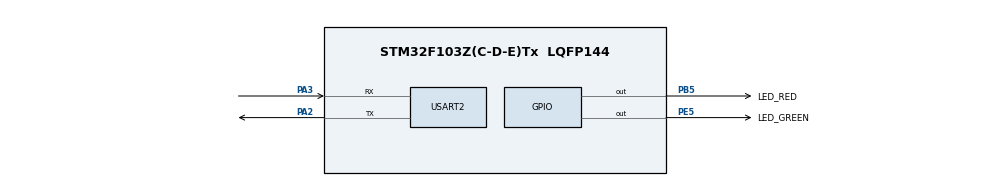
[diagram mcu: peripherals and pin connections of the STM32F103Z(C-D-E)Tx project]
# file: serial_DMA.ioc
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Dma.Request0=USART2_TX
Dma.Request1=USART2_RX
Dma.USART2_RX.1.Direction=DMA_PERIPH_TO_MEMORY
Dma.USART2_RX.1.Instance=DMA1_Channel6
Dma.USART2_RX.1.MemDataAlignment=DMA_MDATAALIGN_BYTE
Dma.USART2_RX.1.MemInc=DMA_MINC_ENABLE
Dma.USART2_RX.1.Mode=DMA_NORMAL
Dma.USART2_RX.1.PeriphDataAlignment=DMA_PDATAALIGN_BYTE
Dma.USART2_RX.1.PeriphInc=DMA_PINC_DISABLE
Dma.USART2_RX.1.Priority=DMA_PRIORITY_LOW
Dma.USART2_TX.0.Direction=DMA_MEMORY_TO_PERIPH
Dma.USART2_TX.0.Instance=DMA1_Channel7
Dma.USART2_TX.0.MemDataAlignment=DMA_MDATAALIGN_BYTE
Dma.USART2_TX.0.MemInc=DMA_MINC_ENABLE
Dma.USART2_TX.0.Mode=DMA_NORMAL
Dma.USART2_TX.0.PeriphDataAlignment=DMA_PDATAALIGN_BYTE
Dma.USART2_TX.0.PeriphInc=DMA_PINC_DISABLE
Dma.USART2_TX.0.Priority=DMA_PRIORITY_MEDIUM
Mcu.Family=STM32F1
Mcu.Name=STM32F103Z(C-D-E)Tx
Mcu.Package=LQFP144
NVIC.DMA1_Channel6_IRQn=true\:0\:0\:false\:false\:true\:false\:true\:true
NVIC.DMA1_Channel7_IRQn=true\:0\:0\:false\:false\:true\:false\:true\:true
NVIC.PriorityGroup=NVIC_PRIORITYGROUP_4
NVIC.USART2_IRQn=true\:0\:0\:false\:false\:true\:true\:true\:true
OSC_IN.Mode=HSE-External-Oscillator
OSC_IN.Signal=RCC_OSC_IN
OSC_OUT.Mode=HSE-External-Oscillator
OSC_OUT.Signal=RCC_OSC_OUT
PA13.Mode=Serial_Wire
PA13.Signal=SYS_JTMS-SWDIO
PA14.Mode=Serial_Wire
PA14.Signal=SYS_JTCK-SWCLK
PA2.Mode=Asynchronous
PA2.Signal=USART2_TX
PA3.Mode=Asynchronous
PA3.Signal=USART2_RX
PB5.GPIO_Label=LED_RED
PB5.Signal=GPIO_Output
PE5.GPIO_Label=LED_GREEN
PE5.Signal=GPIO_Output
ProjectManager.HeapSize=0x200
ProjectManager.StackSize=0x400
ProjectManager.TargetToolchain=MDK-ARM V5.32
RCC.APB1Freq_Value=8000000
RCC.APB2Freq_Value=8000000
USART2.VirtualMode=VM_ASYNC
board=custom

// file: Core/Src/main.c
/* USER CODE BEGIN Header */
/**
  ******************************************************************************
  * @file           : main.c
  * @brief          : Main program body
  ******************************************************************************
  * @attention
  *
  * Copyright (c) 2025 STMicroelectronics.
  * All rights reserved.
  *
  * This software is licensed under terms that can be found in the LICENSE file
  * in the root directory of this software component.
  * If no LICENSE file comes with this software, it is provided AS-IS.
  *
  ******************************************************************************
  */
/* USER CODE END Header */
#include <stdio.h>
#include "main.h"
#include <stdarg.h>  // 用于可变参数

UART_HandleTypeDef huart2;
DMA_HandleTypeDef hdma_usart2_tx;
DMA_HandleTypeDef hdma_usart2_rx;

/* USER CODE BEGIN PV */
uint8_t receive_data[50]; //定义全局变量

uint8_t log_buffer[128];       // 日志缓冲区
volatile uint8_t dma_tx_busy = 0; // DMA发送状态标志
/* USER CODE END PV */

void SystemClock_Config(void);
static void MX_GPIO_Init(void);
static void MX_DMA_Init(void);
static void MX_USART2_UART_Init(void);

/* USER CODE BEGIN 0 */

// 重定向_write函数（支持DMA非阻塞发送）
int _write(int fd, char *ptr, int len) {
    if (dma_tx_busy) return 0; // 等待上一次发送完成
    dma_tx_busy = 1;
    HAL_UART_Transmit_DMA(&huart2, (uint8_t *)ptr, len);
    return len;
}

// DMA发送完成回调
void HAL_UART_TxCpltCallback(UART_HandleTypeDef *huart) {
    if (huart->Instance == USART2) {
        dma_tx_busy = 0; // 标记DMA空闲
    }
}

 void HAL_UART_RxCpltCallback(UART_HandleTypeDef *huart) //
 {
 		HAL_UART_Transmit_IT(&huart2,receive_data, 2);

		GPIO_PinState state = GPIO_PIN_RESET;

		if(receive_data[1] == '0' ){
		state = GPIO_PIN_SET;
		}

		if(receive_data[0] == 'R'){
		HAL_GPIO_WritePin(LED_RED_GPIO_Port, LED_RED_Pin, state);
		}
		else if(receive_data[0] == 'G'){
		HAL_GPIO_WritePin(LED_GREEN_GPIO_Port, LED_GREEN_Pin, state);
		}
			HAL_UART_Receive_DMA(&huart2, receive_data, 2);
 }

 /*在STM32的HAL库中，使用 HAL_UARTEx_RxEventCallback 后，HAL_UART_RxCpltCallback 是否被调用，取决于你使用的接收函数类型和配置。以下是详细分析：

1. 两种回调函数的区别
回调函数	触发条件	适用场景
HAL_UART_RxCpltCallback	当使用 标准接收函数（如 HAL_UART_Receive_DMA）且 DMA传输完成指定长度数据 时触发。	定长数据接收
HAL_UARTEx_RxEventCallback	当使用 扩展接收函数（如 HAL_UARTEx_ReceiveToIdle_DMA）且 数据接收完成或空闲中断触发 时触发。	不定长数据接收（结合空闲中断）
2. 为什么使用 RxEventCallback 后 RxCpltCallback 不再触发？
原因分析
接收模式不同

HAL_UART_Receive_DMA：用于接收固定长度数据，依赖DMA传输完成中断，触发 RxCpltCallback。

HAL_UARTEx_ReceiveToIdle_DMA：结合DMA和空闲中断，用于接收不定长数据，触发 RxEventCallback。

HAL库的内部逻辑
当使用 HAL_UARTEx_ReceiveToIdle_DMA 时，HAL库会优先处理 空闲中断 和 DMA传输事件，并调用 RxEventCallback。此时，标准DMA接收完成事件（即固定长度传输完成）不会触发 RxCpltCallback，因为接收模式已被扩展函数覆盖。

*/
 void HAL_UARTEx_RxEventCallback(UART_HandleTypeDef *huart, uint16_t Size){
	if(huart == &huart2){
		HAL_UART_Transmit_DMA(&huart2, receive_data, Size);

		HAL_UARTEx_ReceiveToIdle_DMA(&huart2, receive_data, sizeof(receive_data));
	__HAL_DMA_DISABLE_IT(&hdma_usart2_rx, DMA_IT_HT); //关闭传输过半中断
	}
	}
/* USER CODE END 0 */

int main(void)
{

  /* MCU Configuration--------------------------------------------------------*/

  /* Reset of all peripherals, Initializes the Flash interface and the Systick. */
  HAL_Init();

  /* Configure the system clock */
  SystemClock_Config();

  /* Initialize all configured peripherals */
  MX_GPIO_Init();
  MX_DMA_Init();
  MX_USART2_UART_Init();
  /* USER CODE BEGIN 2 */

		HAL_UARTEx_ReceiveToIdle_DMA(&huart2, receive_data, sizeof(receive_data));

	__HAL_DMA_DISABLE_IT(&hdma_usart2_rx, DMA_IT_HT);//关闭传输过半中断

log_printf("System Initialized!\r\n");
HAL_UARTEx_ReceiveToIdle_DMA(&huart2, receive_data, sizeof(receive_data)); // 启动DMA接收
  /* USER CODE END 2 */

  /* Infinite loop */
  while (1)
  {

  }
}

void SystemClock_Config(void)
{
  RCC_OscInitTypeDef RCC_OscInitStruct = {0};
  RCC_ClkInitTypeDef RCC_ClkInitStruct = {0};

  /** Initializes the RCC Oscillators according to the specified parameters
  * in the RCC_OscInitTypeDef structure.
  */
  RCC_OscInitStruct.OscillatorType = RCC_OSCILLATORTYPE_HSI;
  RCC_OscInitStruct.HSIState = RCC_HSI_ON;
  RCC_OscInitStruct.HSICalibrationValue = RCC_HSICALIBRATION_DEFAULT;
  RCC_OscInitStruct.PLL.PLLState = RCC_PLL_NONE;
  if (HAL_RCC_OscConfig(&RCC_OscInitStruct) != HAL_OK)
  {
    Error_Handler();
  }

  /** Initializes the CPU, AHB and APB buses clocks
  */
  RCC_ClkInitStruct.ClockType = RCC_CLOCKTYPE_HCLK|RCC_CLOCKTYPE_SYSCLK
                              |RCC_CLOCKTYPE_PCLK1|RCC_CLOCKTYPE_PCLK2;
  RCC_ClkInitStruct.SYSCLKSource = RCC_SYSCLKSOURCE_HSI;
  RCC_ClkInitStruct.AHBCLKDivider = RCC_SYSCLK_DIV1;
  RCC_ClkInitStruct.APB1CLKDivider = RCC_HCLK_DIV1;
  RCC_ClkInitStruct.APB2CLKDivider = RCC_HCLK_DIV1;

  if (HAL_RCC_ClockConfig(&RCC_ClkInitStruct, FLASH_LATENCY_0) != HAL_OK)
  {
    Error_Handler();
  }
}

static void MX_USART2_UART_Init(void)
{

  huart2.Instance = USART2;
  huart2.Init.BaudRate = 115200;
  huart2.Init.WordLength = UART_WORDLENGTH_8B;
  huart2.Init.StopBits = UART_STOPBITS_1;
  huart2.Init.Parity = UART_PARITY_NONE;
  huart2.Init.Mode = UART_MODE_TX_RX;
  huart2.Init.HwFlowCtl = UART_HWCONTROL_NONE;
  huart2.Init.OverSampling = UART_OVERSAMPLING_16;
  if (HAL_UART_Init(&huart2) != HAL_OK)
  {
    Error_Handler();
  }

}

static void MX_DMA_Init(void)
{

  /* DMA controller clock enable */
  __HAL_RCC_DMA1_CLK_ENABLE();

  /* DMA interrupt init */
  /* DMA1_Channel6_IRQn interrupt configuration */
  HAL_NVIC_SetPriority(DMA1_Channel6_IRQn, 0, 0);
  HAL_NVIC_EnableIRQ(DMA1_Channel6_IRQn);
  /* DMA1_Channel7_IRQn interrupt configuration */
  HAL_NVIC_SetPriority(DMA1_Channel7_IRQn, 0, 0);
  HAL_NVIC_EnableIRQ(DMA1_Channel7_IRQn);

}

static void MX_GPIO_Init(void)
{
  GPIO_InitTypeDef GPIO_InitStruct = {0};

  /* GPIO Ports Clock Enable */
  __HAL_RCC_GPIOE_CLK_ENABLE();
  __HAL_RCC_GPIOA_CLK_ENABLE();
  __HAL_RCC_GPIOB_CLK_ENABLE();

  /*Configure GPIO pin Output Level */
  HAL_GPIO_WritePin(LED_GREEN_GPIO_Port, LED_GREEN_Pin, GPIO_PIN_RESET);

  /*Configure GPIO pin Output Level */
  HAL_GPIO_WritePin(LED_RED_GPIO_Port, LED_RED_Pin, GPIO_PIN_RESET);

  /*Configure GPIO pin : LED_GREEN_Pin */
  GPIO_InitStruct.Pin = LED_GREEN_Pin;
  GPIO_InitStruct.Mode = GPIO_MODE_OUTPUT_PP;
  GPIO_InitStruct.Pull = GPIO_NOPULL;
  GPIO_InitStruct.Speed = GPIO_SPEED_FREQ_LOW;
  HAL_GPIO_Init(LED_GREEN_GPIO_Port, &GPIO_InitStruct);

  /*Configure GPIO pin : LED_RED_Pin */
  GPIO_InitStruct.Pin = LED_RED_Pin;
  GPIO_InitStruct.Mode = GPIO_MODE_OUTPUT_PP;
  GPIO_InitStruct.Pull = GPIO_NOPULL;
  GPIO_InitStruct.Speed = GPIO_SPEED_FREQ_LOW;
  HAL_GPIO_Init(LED_RED_GPIO_Port, &GPIO_InitStruct);

}

/* USER CODE BEGIN 4 */

void log_printf(const char *format, ...) {
    if (dma_tx_busy) return; // 如果DMA忙，跳过本次打印

    va_list args;
    va_start(args, format);
    int len = vsnprintf((char *)log_buffer, sizeof(log_buffer), format, args);
    va_end(args);

    if (len > 0) {
        dma_tx_busy = 1;
        HAL_UART_Transmit_DMA(&huart2, log_buffer, len);
    }
}
/* USER CODE END 4 */

void Error_Handler(void)
{
  __disable_irq();
  while (1)
  {
  }
}
